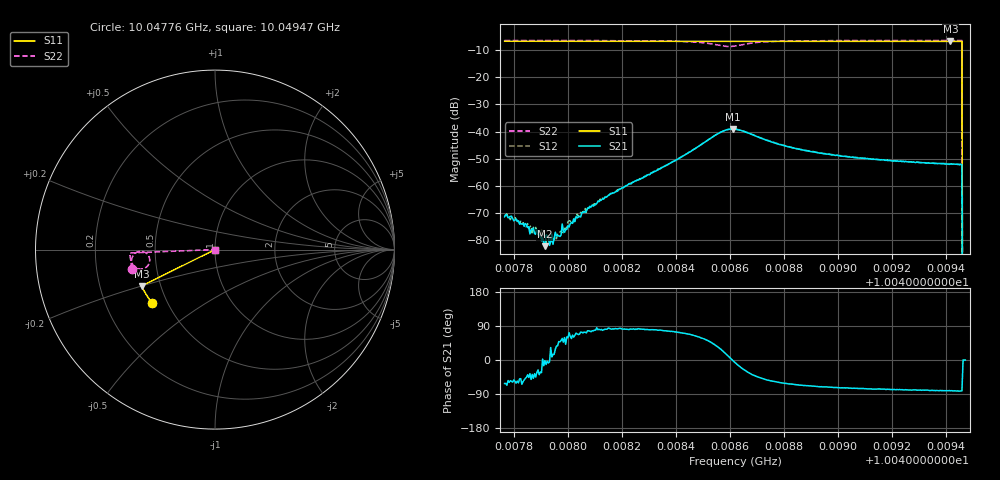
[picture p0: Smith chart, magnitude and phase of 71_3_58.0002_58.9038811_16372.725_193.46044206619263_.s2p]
#  HZ  S  RI  R  50.00
! Rohde & Schwarz Vector Network Analyzer
! Rohde-Schwarz,ZNB20-2Port,1311601062101988,3.16
! Created: UTC 3/21/2024, 12:53:25 AM
! freq[Hz]  re:S11  im:S11  re:S21  im:S21  re:S12  im:S12  re:S22  im:S22
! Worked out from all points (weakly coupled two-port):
!   401 points, 10.04776 GHz to 10.04947 GHz, reference 50 ohm
!   highest |S21| = -39.04 dB at 10.04861 GHz (marker M1); lowest = -82.2 dB at 10.04791 GHz (marker M2)
!   lowest |S11| = -6.8 dB at 10.04942 GHz (marker M3), VSWR 2.68, Z = 19.5 - j10.1 ohm
!   |S11| at or under -10 dB: 10.04946 GHz to end of sweep
!   |S22| runs from - to -6.5 dB; largest |S21 - S12| = 0.00079
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1.0047765e10  -0.3504 -0.2979  0.000126 -0.000238  0.000162 -0.00024  -0.4633 -0.1069
1.0047807e10  -0.3521 -0.2955  0.000117 -0.000212  0.000119 -0.000216  -0.4639 -0.1037
1.0047846e10  -0.3536 -0.2935  0.000134 -0.000137  0.000104 -0.000145  -0.4644 -0.1006
1.0047905e10  -0.356 -0.2904  0.000115 5.06e-06  0.000144 -2.29e-05  -0.4651 -0.0959
1.0047914e10  -0.3564 -0.2899  7.76e-05 -2.42e-06  0.000117 -2.33e-05  -0.4651 -0.0951
1.004794e10  -0.3575 -0.2885  0.00013 1.89e-05  9.13e-05 2e-05  -0.4654 -0.0929
1.0047948e10  -0.3578 -0.2881  0.000106 2.82e-05  6.94e-05 7.19e-05  -0.4655 -0.0922
1.0047965e10  -0.3585 -0.2872  7.97e-05 9.05e-05  7.5e-05 0.00012  -0.4656 -0.0907
1.0047987e10  -0.3595 -0.2859  7.19e-05 0.00012  9.83e-05 0.000133  -0.4658 -0.0888
1.0048008e10  -0.3601 -0.2849  9.38e-05 0.000179  0.000111 0.000197  -0.466 -0.087
1.0048051e10  -0.3619 -0.2826  9.19e-05 0.000305  7.86e-05 0.000308  -0.4664 -0.0831
1.0048157e10  -0.3661 -0.2769  9.86e-05 0.000712  7.5e-05 0.000721  -0.4665 -0.0724
1.0048337e10  -0.3729 -0.2669  0.0004 0.00199  0.000324 0.00203  -0.4632 -0.0487
1.0048559e10  -0.3801 -0.2543  0.0079 0.00501  0.00757 0.00552  -0.3879 -0.0164
1.004861e10  -0.3815 -0.2517  0.0112 -0.000197  0.0111 0.000591  -0.3645 -0.0678
1.0048618e10  -0.3818 -0.2514  0.011 -0.0013  0.0111 -0.000552  -0.3674 -0.0776
1.0048776e10  -0.3879 -0.2431  0.00312 -0.00505  0.00344 -0.00492  -0.4506 -0.0931
1.0048904e10  -0.3925 -0.2357  0.00153 -0.00396  0.00179 -0.00392  -0.4649 -0.0715
1.0049191e10  -0.4014 -0.2189  0.000628 -0.00288  0.00084 -0.00282  -0.4726 -0.0408
1.0049417e10  -0.408 -0.2053  0.000382 -0.0025  0.000518 -0.00248  -0.4743 -0.0221
1.0049451e10  -0.4091 -0.2035  0.000335 -0.00243  0.000499 -0.00245  -0.4744 -0.0195
1.0049472e10  0 0  0 0  0 0  0 0
